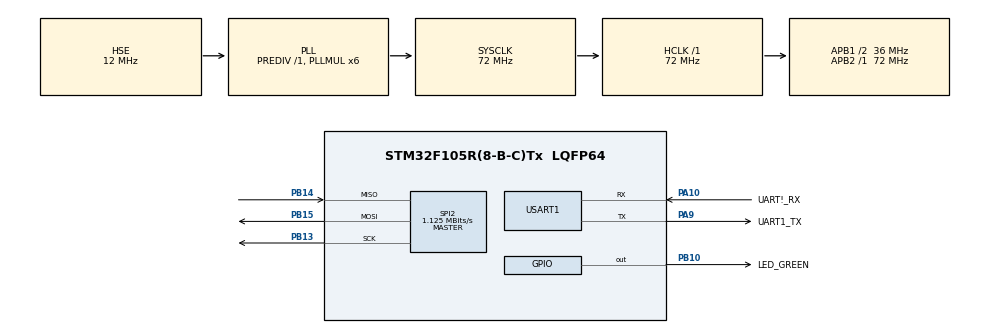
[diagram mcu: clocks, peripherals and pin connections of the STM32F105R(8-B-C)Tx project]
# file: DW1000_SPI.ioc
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Mcu.Family=STM32F1
Mcu.Name=STM32F105R(8-B-C)Tx
Mcu.Package=LQFP64
NVIC.PriorityGroup=NVIC_PRIORITYGROUP_4
PA10.GPIO_Label=UART\!_RX
PA10.Mode=Asynchronous
PA10.Signal=USART1_RX
PA13.Mode=JTAG_5_pins
PA13.Signal=SYS_JTMS-SWDIO
PA14.Mode=JTAG_5_pins
PA14.Signal=SYS_JTCK-SWCLK
PA15.Mode=JTAG_5_pins
PA15.Signal=SYS_JTDI
PA9.GPIO_Label=UART1_TX
PA9.Mode=Asynchronous
PA9.Signal=USART1_TX
PB10.GPIO_Label=LED_GREEN
PB10.GPIO_Speed=GPIO_SPEED_FREQ_HIGH
PB10.PinState=GPIO_PIN_SET
PB10.Signal=GPIO_Output
PB13.Mode=Full_Duplex_Master
PB13.Signal=SPI2_SCK
PB14.Mode=Full_Duplex_Master
PB14.Signal=SPI2_MISO
PB15.Mode=Full_Duplex_Master
PB15.Signal=SPI2_MOSI
PB3.Mode=JTAG_5_pins
PB3.Signal=SYS_JTDO
PB4.Mode=JTAG_5_pins
PB4.Signal=SYS_NJTRST
PD0-OSC_IN.Mode=HSE-External-Oscillator
PD0-OSC_IN.Signal=RCC_OSC_IN
PD1-OSC_OUT.Mode=HSE-External-Oscillator
PD1-OSC_OUT.Signal=RCC_OSC_OUT
ProjectManager.HeapSize=0x2000
ProjectManager.StackSize=0x4000
ProjectManager.TargetToolchain=MDK-ARM V5
RCC.AHBFreq_Value=72000000
RCC.APB1CLKDivider=RCC_HCLK_DIV2
RCC.APB1Freq_Value=36000000
RCC.APB1TimFreq_Value=72000000
RCC.APB2Freq_Value=72000000
RCC.APB2TimFreq_Value=72000000
RCC.HCLKFreq_Value=72000000
RCC.HSE_VALUE=12000000
RCC.PLLMUL=RCC_PLL_MUL6
RCC.PLLSourceVirtual=RCC_PLLSOURCE_HSE
RCC.SYSCLKFreq_VALUE=72000000
RCC.SYSCLKSource=RCC_SYSCLKSOURCE_PLLCLK
RCC.USBFreq_Value=48000000
SPI2.BaudRatePrescaler=SPI_BAUDRATEPRESCALER_32
SPI2.CalculateBaudRate=1.125 MBits/s
SPI2.Direction=SPI_DIRECTION_2LINES
SPI2.Mode=SPI_MODE_MASTER
SPI2.VirtualType=VM_MASTER
USART1.VirtualMode=VM_ASYNC
board=DW1000_SPI

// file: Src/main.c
/**
  ******************************************************************************
  * File Name          : main.c
  * Description        : Main program body
  ******************************************************************************
  ** This notice applies to any and all portions of this file
  * that are not between comment pairs USER CODE BEGIN and
  * USER CODE END. Other portions of this file, whether
  * inserted by the user or by software development tools
  * are owned by their respective copyright owners.
  *
  * COPYRIGHT(c) 2017 STMicroelectronics
  *
  * Redistribution and use in source and binary forms, with or without modification,
  * are permitted provided that the following conditions are met:
  *   1. Redistributions of source code must retain the above copyright notice,
  *      this list of conditions and the following disclaimer.
  *   2. Redistributions in binary form must reproduce the above copyright notice,
  *      this list of conditions and the following disclaimer in the documentation
  *      and/or other materials provided with the distribution.
  *   3. Neither the name of STMicroelectronics nor the names of its contributors
  *      may be used to endorse or promote products derived from this software
  *      without specific prior written permission.
  *
  * THIS SOFTWARE IS PROVIDED BY THE COPYRIGHT HOLDERS AND CONTRIBUTORS "AS IS"
  * AND ANY EXPRESS OR IMPLIED WARRANTIES, INCLUDING, BUT NOT LIMITED TO, THE
  * IMPLIED WARRANTIES OF MERCHANTABILITY AND FITNESS FOR A PARTICULAR PURPOSE ARE
  * DISCLAIMED. IN NO EVENT SHALL THE COPYRIGHT HOLDER OR CONTRIBUTORS BE LIABLE
  * FOR ANY DIRECT, INDIRECT, INCIDENTAL, SPECIAL, EXEMPLARY, OR CONSEQUENTIAL
  * DAMAGES (INCLUDING, BUT NOT LIMITED TO, PROCUREMENT OF SUBSTITUTE GOODS OR
  * SERVICES; LOSS OF USE, DATA, OR PROFITS; OR BUSINESS INTERRUPTION) HOWEVER
  * CAUSED AND ON ANY THEORY OF LIABILITY, WHETHER IN CONTRACT, STRICT LIABILITY,
  * OR TORT (INCLUDING NEGLIGENCE OR OTHERWISE) ARISING IN ANY WAY OUT OF THE USE
  * OF THIS SOFTWARE, EVEN IF ADVISED OF THE POSSIBILITY OF SUCH DAMAGE.
  *
  ******************************************************************************
  */
#include "main.h"
#include "stm32f1xx_hal.h"

SPI_HandleTypeDef hspi2;

UART_HandleTypeDef huart1;

/* Buffer used for transmission */
uint8_t aTxBuffer[55];

/* Buffer used for reception */
uint8_t aRxBuffer[55];
static uint8_t isrecieved=0;

/* USER CODE BEGIN PV */
/* Private variables ---------------------------------------------------------*/

/* USER CODE END PV */

void SystemClock_Config(void);
static void MX_GPIO_Init(void);
static void MX_SPI2_Init(void);
static void MX_USART1_UART_Init(void);

/* USER CODE BEGIN PFP */
/* Private function prototypes -----------------------------------------------*/

/* USER CODE END PFP */

int main(void)
{

  /* MCU Configuration----------------------------------------------------------*/

  /* Reset of all peripherals, Initializes the Flash interface and the Systick. */
  HAL_Init();

  /* Configure the system clock */
  SystemClock_Config();

  /* Initialize all configured peripherals */
  MX_GPIO_Init();
  MX_SPI2_Init();
  MX_USART1_UART_Init();

  /* USER CODE BEGIN 2 */
	HAL_Delay(1000);

	aTxBuffer[0]=0x0A;
	aTxBuffer[1]=0x0B;
	if(HAL_SPI_TransmitReceive_IT(&hspi2, (uint8_t*)aTxBuffer, (uint8_t *)aRxBuffer, 55) != HAL_OK)
			{
				/* Transfer error in transmission process */
				Error_Handler();
			}

  /* USER CODE END 2 */

  /* Infinite loop */
  /* USER CODE BEGIN WHILE */
  while (1)
  {
//		HAL_UART_Transmit(&huart1,"a",1,5000);
		HAL_Delay(1000);
		if(isrecieved==1){
//			HAL_UART_Transmit(&huart1,aRxBuffer,5,5000);
			isrecieved=0;
			if(HAL_SPI_TransmitReceive_IT(&hspi2, (uint8_t*)aTxBuffer, (uint8_t *)aRxBuffer, 55) != HAL_OK)
			{
				/* Transfer error in transmission process */
				Error_Handler();
			}
		}
  /* USER CODE END WHILE */

  }

}

/** System Clock Configuration
*/
void SystemClock_Config(void)
{

  RCC_OscInitTypeDef RCC_OscInitStruct;
  RCC_ClkInitTypeDef RCC_ClkInitStruct;

    /**Initializes the CPU, AHB and APB busses clocks
    */
  RCC_OscInitStruct.OscillatorType = RCC_OSCILLATORTYPE_HSE;
  RCC_OscInitStruct.HSEState = RCC_HSE_ON;
  RCC_OscInitStruct.HSEPredivValue = RCC_HSE_PREDIV_DIV1;
  RCC_OscInitStruct.HSIState = RCC_HSI_ON;
  RCC_OscInitStruct.Prediv1Source = RCC_PREDIV1_SOURCE_HSE;
  RCC_OscInitStruct.PLL.PLLState = RCC_PLL_ON;
  RCC_OscInitStruct.PLL.PLLSource = RCC_PLLSOURCE_HSE;
  RCC_OscInitStruct.PLL.PLLMUL = RCC_PLL_MUL6;
  RCC_OscInitStruct.PLL2.PLL2State = RCC_PLL_NONE;
  if (HAL_RCC_OscConfig(&RCC_OscInitStruct) != HAL_OK)
  {
    _Error_Handler(__FILE__, __LINE__);
  }

    /**Initializes the CPU, AHB and APB busses clocks
    */
  RCC_ClkInitStruct.ClockType = RCC_CLOCKTYPE_HCLK|RCC_CLOCKTYPE_SYSCLK
                              |RCC_CLOCKTYPE_PCLK1|RCC_CLOCKTYPE_PCLK2;
  RCC_ClkInitStruct.SYSCLKSource = RCC_SYSCLKSOURCE_PLLCLK;
  RCC_ClkInitStruct.AHBCLKDivider = RCC_SYSCLK_DIV1;
  RCC_ClkInitStruct.APB1CLKDivider = RCC_HCLK_DIV2;
  RCC_ClkInitStruct.APB2CLKDivider = RCC_HCLK_DIV1;

  if (HAL_RCC_ClockConfig(&RCC_ClkInitStruct, FLASH_LATENCY_2) != HAL_OK)
  {
    _Error_Handler(__FILE__, __LINE__);
  }

    /**Configure the Systick interrupt time
    */
  HAL_SYSTICK_Config(HAL_RCC_GetHCLKFreq()/1000);

    /**Configure the Systick
    */
  HAL_SYSTICK_CLKSourceConfig(SYSTICK_CLKSOURCE_HCLK);

    /**Configure the Systick interrupt time
    */
  __HAL_RCC_PLLI2S_ENABLE();

  /* SysTick_IRQn interrupt configuration */
  HAL_NVIC_SetPriority(SysTick_IRQn, 0, 0);
}

/* SPI2 init function */
static void MX_SPI2_Init(void)
{

  hspi2.Instance = SPI2;
  hspi2.Init.Mode = SPI_MODE_MASTER;
  hspi2.Init.Direction = SPI_DIRECTION_2LINES;
  hspi2.Init.DataSize = SPI_DATASIZE_8BIT;
  hspi2.Init.CLKPolarity = SPI_POLARITY_LOW;
  hspi2.Init.CLKPhase = SPI_PHASE_1EDGE;
  hspi2.Init.NSS = SPI_NSS_SOFT;
  hspi2.Init.BaudRatePrescaler = SPI_BAUDRATEPRESCALER_128;
  hspi2.Init.FirstBit = SPI_FIRSTBIT_MSB;
  hspi2.Init.TIMode = SPI_TIMODE_DISABLE;
  hspi2.Init.CRCCalculation = SPI_CRCCALCULATION_DISABLE;
  hspi2.Init.CRCPolynomial = 10;
  if (HAL_SPI_Init(&hspi2) != HAL_OK)
  {
    _Error_Handler(__FILE__, __LINE__);
  }

}

/* USART1 init function */
static void MX_USART1_UART_Init(void)
{

  huart1.Instance = USART1;
  huart1.Init.BaudRate = 115200;
  huart1.Init.WordLength = UART_WORDLENGTH_8B;
  huart1.Init.StopBits = UART_STOPBITS_1;
  huart1.Init.Parity = UART_PARITY_NONE;
  huart1.Init.Mode = UART_MODE_TX_RX;
  huart1.Init.HwFlowCtl = UART_HWCONTROL_NONE;
  huart1.Init.OverSampling = UART_OVERSAMPLING_16;
  if (HAL_UART_Init(&huart1) != HAL_OK)
  {
    _Error_Handler(__FILE__, __LINE__);
  }

}

/** Configure pins as
        * Analog
        * Input
        * Output
        * EVENT_OUT
        * EXTI
*/
static void MX_GPIO_Init(void)
{

  GPIO_InitTypeDef GPIO_InitStruct;

  /* GPIO Ports Clock Enable */
  __HAL_RCC_GPIOD_CLK_ENABLE();
  __HAL_RCC_GPIOB_CLK_ENABLE();
  __HAL_RCC_GPIOA_CLK_ENABLE();

  /*Configure GPIO pin Output Level */
  HAL_GPIO_WritePin(LED_GREEN_GPIO_Port, LED_GREEN_Pin, GPIO_PIN_SET);

  /*Configure GPIO pin : LED_GREEN_Pin */
  GPIO_InitStruct.Pin = LED_GREEN_Pin;
  GPIO_InitStruct.Mode = GPIO_MODE_OUTPUT_PP;
  GPIO_InitStruct.Speed = GPIO_SPEED_FREQ_HIGH;
  HAL_GPIO_Init(LED_GREEN_GPIO_Port, &GPIO_InitStruct);

}

/* USER CODE BEGIN 4 */

/**
  * @brief  TxRx Transfer completed callback.
  * @param  hspi: SPI handle
  * @note   This example shows a simple way to report end of DMA TxRx transfer, and
  *         you can add your own implementation.
  * @retval None
  */
void HAL_SPI_TxRxCpltCallback(SPI_HandleTypeDef *hspi)
{
	HAL_UART_Transmit(&huart1,aRxBuffer,55,5000);
  /* Turn LED3 on: Transfer in transmission/reception process is complete */
	if(aRxBuffer[0]==0x0A){

		HAL_GPIO_WritePin(GPIOB, GPIO_PIN_10, GPIO_PIN_RESET);//Turns selected LED ON

	}else{
		HAL_GPIO_WritePin(GPIOB, GPIO_PIN_10, GPIO_PIN_RESET);// Turns selected LED Off

	}
  isrecieved=1;

}

/**
  * @brief  SPI error callbacks.
  * @param  hspi: SPI handle
  * @note   This example shows a simple way to report transfer error, and you can
  *         add your own implementation.
  * @retval None
  */
void HAL_SPI_ErrorCallback(SPI_HandleTypeDef *hspi)
{
  _Error_Handler(0x00,0);
}

/* USER CODE END 4 */

void _Error_Handler(char * file, int line)
{
  /* USER CODE BEGIN Error_Handler_Debug */
  /* User can add his own implementation to report the HAL error return state */

  while(1)
  {
		HAL_GPIO_WritePin(GPIOB, GPIO_PIN_10, GPIO_PIN_SET);// Turns selected LED Off
		HAL_Delay(200);// 延时1秒
		HAL_GPIO_WritePin(GPIOB, GPIO_PIN_10, GPIO_PIN_RESET);//Turns selected LED ON
		HAL_Delay(200);// 延时1秒

  }
  /* USER CODE END Error_Handler_Debug */
}

/************************ (C) COPYRIGHT STMicroelectronics *****END OF FILE****/
